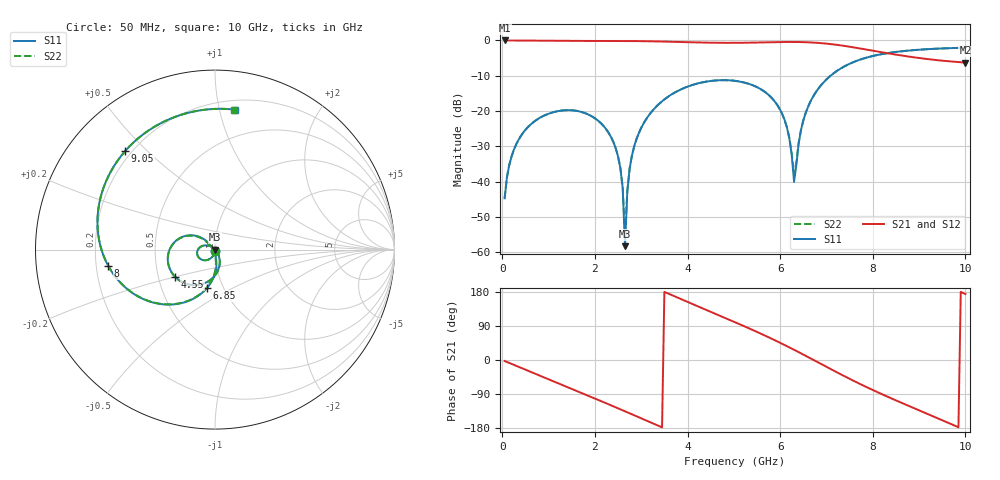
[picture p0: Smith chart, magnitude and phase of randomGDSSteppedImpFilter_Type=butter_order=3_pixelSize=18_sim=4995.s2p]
! freq	dB(S11)	phase(S11)	dB(S12)	phase(S12)
!  dB(S21)	phase(S21)	dB(S22)	phase(S22)
!S-par simulation data
#  GHz  S  DB  R 50
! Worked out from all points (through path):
!   200 points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, 50 MHz to 10 GHz, reference 50 ohm
!   highest |S21| = -0.01 dB at 50 MHz (marker M1); lowest = -6.3 dB at 10 GHz (marker M2)
!   group delay of S21, straight-line fit = 154 ps
!   lowest |S11| = -58.3 dB at 2.65 GHz (marker M3), VSWR 1.00, Z = 50.1 + j0.0283 ohm
!   |S11| at or under -10 dB: start of sweep to 7.089 GHz
!   |S22| runs from -55.6 to -2.1 dB; largest |S21 - S12| = 0
!   S11 on the Smith chart (normalised r, x): 50 MHz: 1.00, -0.01; 4.55 GHz: 0.61, -0.20; 6.85 GHz: 0.84, -0.38; 8 GHz: 0.25, -0.07; 9.05 GHz: 0.18, +0.43; 10 GHz: 0.27, +1.11
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0.05  -44.76 -89.9  -0.01 -2.6  -0.01 -2.6  -44.76 -90.0
0.2  -32.88 -99.9  -0.02 -10.3  -0.02 -10.3  -32.88 -99.9
0.55  -24.62 -118.6  -0.05 -28.1  -0.05 -28.1  -24.62 -118.6
1.75  -20.44 -179.9  -0.14 -88.9  -0.14 -88.9  -20.44 179.9
2.45  -30.60 143.8  -0.15 -124.9  -0.15 -124.9  -30.60 142.6
2.6  -41.80 135.2  -0.16 -132.8  -0.16 -132.8  -41.76 130.1
2.65  -58.32 13.5  -0.16 -135.4  -0.16 -135.4  -55.63 42.3
2.7  -42.75 -47.2  -0.16 -138.0  -0.16 -138.0  -42.66 -40.7
2.8  -32.59 -53.5  -0.17 -143.3  -0.17 -143.3  -32.58 -51.5
3.4  -17.81 -85.6  -0.29 -175.1  -0.29 -175.1  -17.81 -85.0
4.55  -11.42 -145.3  -0.65 124.7  -0.65 124.7  -11.42 -144.9
5.05  -11.50 -171.0  -0.68 98.5  -0.68 98.5  -11.49 -170.5
6  -19.68 139.3  -0.46 45.4  -0.46 45.4  -19.65 140.9
6.2  -27.86 135.0  -0.43 33.2  -0.43 33.2  -27.70 139.1
6.3  -40.11 -177.4  -0.43 27.0  -0.43 27.0  -37.94 -171.9
6.45  -25.41 -83.0  -0.46 17.5  -0.46 17.5  -25.31 -86.1
6.7  -16.19 -92.8  -0.59 1.4  -0.59 1.4  -16.18 -93.9
6.85  -13.24 -101.6  -0.72 -8.3  -0.72 -8.3  -13.23 -102.4
8  -4.41 -171.3  -2.90 -79.2  -2.90 -79.2  -4.41 -171.4
8.35  -3.53 169.3  -3.70 -98.5  -3.70 -98.5  -3.53 169.3
9.05  -2.58 132.4  -5.07 -135.4  -5.07 -135.4  -2.58 132.5
10  -2.07 82.1  -6.28 174.2  -6.28 174.2  -2.07 82.2
